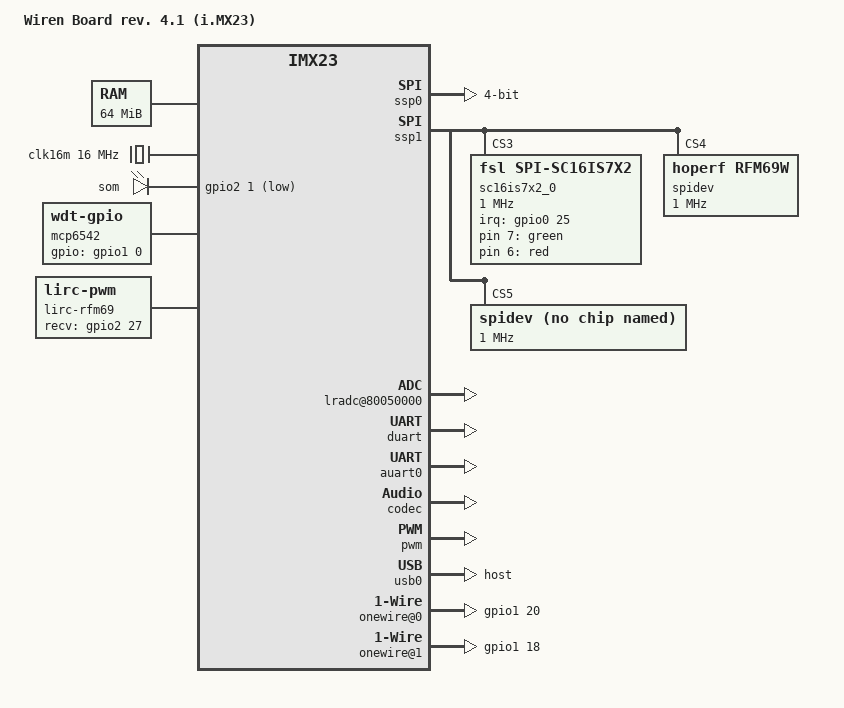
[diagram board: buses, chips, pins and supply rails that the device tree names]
/*
 * Copyright 2012 Freescale Semiconductor, Inc.
 *
 * Author: Fabio Estevam <fabio.estevam@freescale.com>
 *
 * The code contained herein is licensed under the GNU General Public
 * License. You may obtain a copy of the GNU General Public License
 * Version 2 or later at the following locations:
 *
 * http://www.opensource.org/licenses/gpl-license.html
 * http://www.gnu.org/copyleft/gpl.html
 */

/dts-v1/;
#include "imx23.dtsi"

/ {
	model = "Wiren Board rev. 4.1 (i.MX23)";
	compatible = "contactless,imx23-wirenboard41", "contactless,imx23-wirenboard32", "olimex,imx23-olinuxino", "fsl,imx23";

	memory {
		reg = <0x40000000 0x04000000>;
	};


    clk16m: oscillator {
         compatible = "fixed-clock";
         #clock-cells = <0>;
         clock-frequency  = <16000000>;
         clock-output-names = "clk16m";
    };

	apb@80000000 {
		apbh@80000000 {
			ssp0: ssp@80010000 {
				compatible = "fsl,imx23-mmc";
				pinctrl-names = "default";
				pinctrl-0 = <&mmc0_4bit_pins_a &mmc0_pins_fixup>;
				bus-width = <4>;
				broken-cd;
				status = "okay";
			};

			pinctrl@80018000 {
				pinctrl-names = "default";
				pinctrl-0 = <&hog_pins_a
							>;

				rfm69_raw_pins: rfm69_raw_pins@0 {
					reg = <0>;
					fsl,pinmux-ids = <
						MX23_PAD_GPMI_CE1N__GPIO_2_27	/* RFM69_DIO2 */
					>;
					fsl,drive-strength = <0>;
					fsl,voltage = <1>;
					fsl,pull-up = <0>;
				};

				hog_pins_a: hog@0 {
					reg = <0>;
					fsl,pinmux-ids = <
						0x2013 /* MX23_PAD_SSP1_DETECT__GPIO_2_1 */
						0x0113 /* MX23_PAD_GPMI_ALE__GPIO_0_17 */
					>;
					fsl,drive-strength = <0>;
					fsl,voltage = <1>;
					fsl,pull-up = <0>;
				};

				led_pin_gpio2_1: led_gpio2_1@0 {
					reg = <0>;
					fsl,pinmux-ids = <
						0x2013 /* MX23_PAD_SSP1_DETECT__GPIO_2_1 */
					>;
					fsl,drive-strength = <0>;
					fsl,voltage = <1>;
					fsl,pull-up = <0>;
				};

				i2c_gpio: i2c_gpio {
					reg = <0>;
					fsl,pinmux-ids = <
						0x0173 // MX23_PAD_GPMI_WPN__GPIO_0_23
						0x0193 // MX23_PAD_GPMI_RDN__GPIO_0_25
					>;
					fsl,pull-up = <1>;
				};

		        i2c0_pins_a: i2c0@0 {
		           reg = <0>;
		           fsl,pinmux-ids = <
		           0x1171 /* MX23_PAD_LCD_ENABLE__I2C_SCL */
		           0x1181 /* MX23_PAD_LCD_HSYNC__I2C_SDA */
		           >;
		           fsl,drive-strength = <1>;
		           fsl,voltage = <1>;
		           fsl,pull-up = <1>;
		        };

		        i2c0_pins_a_gpio: i2c0_pins_a_gpio {
		           reg = <0>;
		           fsl,pinmux-ids = <
		           0x1173 /* MX23_PAD_LCD_ENABLE__GPIO_1_23 */
		           0x1183 /* MX23_PAD_LCD_HSYNC__GPIO_1_24 */
		           >;
		           fsl,drive-strength = <1>;
		           fsl,voltage = <1>;
		           fsl,pull-up = <1>;
		        };

				spi2_pins_nocs: spi2@0 {
					reg = <0>;
					fsl,pinmux-ids = <
						0x0182 /* MX23_PAD_GPMI_WRN__SSP2_SCK */
						0x0142 /* MX23_PAD_GPMI_RDY1__SSP2_CMD */
						0x0002 /* MX23_PAD_GPMI_D00__SSP2_DATA0 */
					>;
					fsl,drive-strength = <1>;
					fsl,voltage = <1>;
					fsl,pull-up = <1>;
				};

		        cs_mem_gpio_pins: cs_mem_gpio_pins{
		           reg = <0>;
		           fsl,pinmux-ids = <
			           0x0133 /* MX23_PAD_GPMI_RDY0__GPIO_0_19 */
		           >;
		           fsl,drive-strength = <1>;
		           fsl,voltage = <1>;
		        };







			};

			ssp1: ssp@80034000 {
				#address-cells = <1>;
				#size-cells = <0>;
				compatible = "fsl,imx23-spi";
				pinctrl-names = "default";
				pinctrl-0 = <&spi2_pins_nocs &cs_mem_gpio_pins>;
				status = "okay";
				cs-gpios = <&gpio0 3 0 /* cs0 fixme: use hardware cs directly*/
							&gpio0 4 0 /* rfm69 */
							&gpio1 24 0  /* CSN @ extension (  NRF24L01 chip select )  */

							>;



				sc16is7x2_0: sc16is7x2@0 {
					compatible = "fsl,spi-sc16is7x2";
					spi-max-frequency = <1000000>;
					reg = <3>;
					gpio-base = <120>;
					uart-base = <0>;

					interrupt-parent = <&gpio0>;
					interrupts = <25 0>;
					uartclk = <24000000>;

					disable-modem-pins-on-startup-a;
					disable-modem-pins-on-startup-b;

					rs485-rts-active-high-a;
					rs485-rts-active-high-b;

					rs485-enabled-at-boot-time-a;
					rs485-enabled-at-boot-time-b;


					#gpio-cells = <2>;
					gpio-controller;

				};

				spidev@4 {
					compatible = "hoperf,rfm69w";
					spi-max-frequency = <1000000>;
					reg = <4>;
				};


				spidev@5 {
					compatible = "spidev";
					spi-max-frequency = <1000000>;
					reg = <5>;
				};

			};
		};

		apbx@80040000 {
			rtc@8005c000 {
				status = "okay";
			};

			lradc@80050000 {
				status = "okay";
			};

/* Uncomment no enable hardware i2c */
/*
			i2c0: i2c@80058000 {
				pinctrl-names = "default";
				pinctrl-0 = <&i2c0_pins_a>;
				status = "okay";
			};
*/


			duart: serial@80070000 {
				pinctrl-names = "default";
				pinctrl-0 = <&duart_pins_a>;
				status = "okay";
			};

			auart0: serial@8006c000 {
				pinctrl-names = "default";
				pinctrl-0 = <&auart0_2pins_a>;
				status = "okay";
			};

			usbphy0: usbphy@8007c000 {
				status = "okay";
			};


			codec: mxs-builtin-codec {
				compatible = "fsl,mxs-builtin-codec";
				reg = <0x80048000 0x2000>, <0x8004c000 0x2000>,
					<0x8005c000 0x2000>;
				reg-names = "audioout", "audioin", "rtc";
				clocks = <&clks 31>;
				clock-names = "filt";
				disable-mic-bias;
			};

			platform_dai: mxs-builtin-cpu-dai {
				compatible = "fsl,mxs-builtin-cpu-dai";
				reg = <0x80048000 0x2000>, <0x8004c000 0x2000>,
				<0x8005c000 0x2000>;
				reg-names = "audioout", "audioin", "rtc";
				interrupts = <8 6 4>;
				dmas = <&dma_apbx 0>, <&dma_apbx 1>;
				dma-names = "rx", "tx";
			};



			pwm: pwm@80064000 {
		            pinctrl-names = "default";
		            pinctrl-0 = <&pwm2_pins_a>;
		            status = "okay";
		    };



		};
	};

	ahb@80080000 {
		usb0: usb@80080000 {
		    /*vbus-supply = <&reg_33v_bus>;*/
			status = "okay";
			dr_mode = "host";
		};
	};


	leds {
		compatible = "gpio-leds";
		pinctrl-names = "default";
		pinctrl-0 = <&led_pin_gpio2_1>;

		user {
			label = "som";
			gpios = <&gpio2 1 1>;
			linux,default-trigger = "timer";
		};




		green {
			label = "green";
			gpios = <&sc16is7x2_0 7 0>;
			linux,default-trigger = "none";
		};



		red {
			label = "red";
			gpios = <&sc16is7x2_0 6 0>;
			linux,default-trigger = "default-on";
		};

	};

	mxs-builtin-audio {
		compatible = "fsl,mxs-builtin-audio";
		audio-codec = <&codec>;
		cpu-dai = <&platform_dai>;
	};




	/* Enable 1-wire network on GPIO52 (terminal block W1) */
	onewire@0 {
		compatible = "w1-gpio";
		gpios = <&gpio1 20 0>;
	};

	/* Enable 1-wire network on GPIO50 (terminal block W2) */
	onewire@1 {
		compatible = "w1-gpio";
		gpios = <&gpio1 18 0>;
	};


	mcp6542: watchdog {
		/* watchdog timer on mcp6542  */
		compatible = "linux,wdt-gpio";
		gpios = <&gpio1 0 0>;
		hw_algo = "toggle";
		hw_margin_ms = <50>;
		always-running;
		timeout-sec = <30>;
		status = "okay";
	};

	lirc-rfm69 {
		compatible = "lirc-pwm";
		pinctrl-names = "default";
		pinctrl-0 = <&rfm69_raw_pins>;
		gpio-recv = <&gpio2 27 0>;
	};

};
